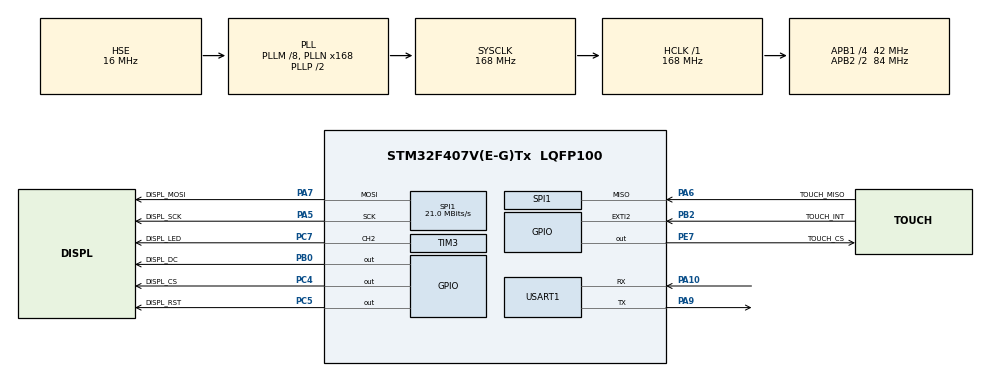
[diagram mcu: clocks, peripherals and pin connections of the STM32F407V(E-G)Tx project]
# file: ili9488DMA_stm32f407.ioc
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Dma.Request0=SPI1_TX
Dma.SPI1_TX.0.Direction=DMA_MEMORY_TO_PERIPH
Dma.SPI1_TX.0.FIFOMode=DMA_FIFOMODE_DISABLE
Dma.SPI1_TX.0.Instance=DMA2_Stream3
Dma.SPI1_TX.0.MemDataAlignment=DMA_MDATAALIGN_BYTE
Dma.SPI1_TX.0.MemInc=DMA_MINC_ENABLE
Dma.SPI1_TX.0.Mode=DMA_NORMAL
Dma.SPI1_TX.0.PeriphDataAlignment=DMA_PDATAALIGN_BYTE
Dma.SPI1_TX.0.PeriphInc=DMA_PINC_DISABLE
Dma.SPI1_TX.0.Priority=DMA_PRIORITY_LOW
Mcu.Family=STM32F4
Mcu.Name=STM32F407V(E-G)Tx
Mcu.Package=LQFP100
NVIC.DMA2_Stream3_IRQn=true\:0\:0\:false\:false\:true\:false\:true\:true
NVIC.EXTI2_IRQn=true\:2\:0\:true\:false\:true\:true\:true\:true
NVIC.PriorityGroup=NVIC_PRIORITYGROUP_4
NVIC.SPI1_IRQn=true\:1\:0\:true\:false\:true\:true\:true\:true
PA10.Mode=Asynchronous
PA10.Signal=USART1_RX
PA13.Mode=Serial_Wire
PA13.Signal=SYS_JTMS-SWDIO
PA14.Mode=Serial_Wire
PA14.Signal=SYS_JTCK-SWCLK
PA5.GPIO_Label=DISPL_SCK
PA5.Mode=Full_Duplex_Master
PA5.Signal=SPI1_SCK
PA6.GPIO_Label=TOUCH_MISO
PA6.Mode=Full_Duplex_Master
PA6.Signal=SPI1_MISO
PA7.GPIO_Label=DISPL_MOSI
PA7.Mode=Full_Duplex_Master
PA7.Signal=SPI1_MOSI
PA9.Mode=Asynchronous
PA9.Signal=USART1_TX
PB0.GPIO_Label=DISPL_DC
PB0.Signal=GPIO_Output
PB2.GPIO_Label=TOUCH_INT
PB2.GPIO_ModeDefaultEXTI=GPIO_MODE_IT_RISING
PB2.GPIO_PuPd=GPIO_PULLDOWN
PB2.Signal=GPXTI2
PC4.GPIO_Label=DISPL_CS
PC4.Signal=GPIO_Output
PC5.GPIO_Label=DISPL_RST
PC5.Signal=GPIO_Output
PC7.GPIO_Label=DISPL_LED
PC7.Signal=S_TIM3_CH2
PE7.GPIO_Label=TOUCH_CS
PE7.GPIO_PuPd=GPIO_PULLUP
PE7.GPIO_Speed=GPIO_SPEED_FREQ_LOW
PE7.PinState=GPIO_PIN_SET
PE7.Signal=GPIO_Output
PH0-OSC_IN.Mode=HSE-External-Oscillator
PH0-OSC_IN.Signal=RCC_OSC_IN
PH1-OSC_OUT.Mode=HSE-External-Oscillator
PH1-OSC_OUT.Signal=RCC_OSC_OUT
ProjectManager.HeapSize=0x800
ProjectManager.StackSize=0x400
ProjectManager.TargetToolchain=EWARM V8.50
RCC.48MHZClocksFreq_Value=84000000
RCC.AHBFreq_Value=168000000
RCC.APB1CLKDivider=RCC_HCLK_DIV4
RCC.APB1Freq_Value=42000000
RCC.APB1TimFreq_Value=84000000
RCC.APB2CLKDivider=RCC_HCLK_DIV2
RCC.APB2Freq_Value=84000000
RCC.APB2TimFreq_Value=168000000
RCC.CortexFreq_Value=168000000
RCC.HCLKFreq_Value=168000000
RCC.HSE_VALUE=16000000
RCC.HSI_VALUE=16000000
RCC.LSE_VALUE=32768
RCC.PLLM=8
RCC.PLLN=168
RCC.PLLSourceVirtual=RCC_PLLSOURCE_HSE
RCC.SYSCLKFreq_VALUE=168000000
RCC.SYSCLKSource=RCC_SYSCLKSOURCE_PLLCLK
RCC.VCOOutputFreq_Value=336000000
SH.S_TIM3_CH2.0=TIM3_CH2,PWM Generation2 CH2
SPI1.BaudRatePrescaler=SPI_BAUDRATEPRESCALER_4
SPI1.CalculateBaudRate=21.0 MBits/s
SPI1.Direction=SPI_DIRECTION_2LINES
SPI1.Mode=SPI_MODE_MASTER
SPI1.VirtualType=VM_MASTER
TIM3.Channel-PWM\ Generation2\ CH2=TIM_CHANNEL_2
TIM3.Period=1000
TIM3.Prescaler=10000
USART1.VirtualMode=VM_ASYNC
board=custom

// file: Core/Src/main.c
/* USER CODE BEGIN Header */
/**
******************************************************************************
* @file           : main.c
* @brief          : Main program body
******************************************************************************
* @attention
*
* Copyright (c) 2025 STMicroelectronics.
* All rights reserved.
*
* This software is licensed under terms that can be found in the LICENSE file
* in the root directory of this software component.
* If no LICENSE file comes with this software, it is provided AS-IS.
*
******************************************************************************
*/
/* USER CODE END Header */
#include "main.h"

/* USER CODE BEGIN Includes */
#include "fonts.h"
#include "z_displ_ILI9XXX.h"
#include "z_touch_XPT2046.h"
#include "z_displ_ILI9XXX_test.h"
#include "z_touch_XPT2046_test.h"
#include "z_touch_XPT2046_menu.h"
#include "image.h"
/* USER CODE END Includes */

SPI_HandleTypeDef hspi1;
DMA_HandleTypeDef hdma_spi1_tx;

TIM_HandleTypeDef htim3;

UART_HandleTypeDef huart1;

/* USER CODE BEGIN PV */
int TouchCount;
/* USER CODE END PV */

void SystemClock_Config(void);
static void MX_GPIO_Init(void);
static void MX_DMA_Init(void);
static void MX_SPI1_Init(void);
static void MX_TIM3_Init(void);
static void MX_USART1_UART_Init(void);

/* USER CODE BEGIN 0 */
void show_uart( char *ss)
{
  char test[100];
  int len;
  strcpy(test, ss);
  strcat(test, "\r\n");
  len = strlen (test);
  HAL_UART_Transmit(&huart1, (uint8_t *) test, len, HAL_MAX_DELAY);
}

/* USER CODE END 0 */

int main(void)
{

  /* MCU Configuration--------------------------------------------------------*/

  /* Reset of all peripherals, Initializes the Flash interface and the Systick. */
  HAL_Init();

  /* Configure the system clock */
  SystemClock_Config();

  /* Initialize all configured peripherals */
  MX_GPIO_Init();
  MX_DMA_Init();
  MX_SPI1_Init();
  MX_TIM3_Init();
  MX_USART1_UART_Init();
  /* USER CODE BEGIN 2 */

  show_uart("start");
  Displ_Init(Displ_Orientat_270);
  Displ_CLS(BLACK);
 /// Displ_DrawImage(0,0,80,80,logo);

   drawImage(0,0,480,320,logo);

  //ILI9488_DrawImage(0,0,80,80,logo,10);

  //Touch_TestDrawing();
  // Displ_PerfTest();//
 // Displ_TestAll ();
  /* USER CODE END 2 */

  /* Infinite loop */
  /* USER CODE BEGIN WHILE */
  while (1)
  {
    uint16_t x,y;
    uint8_t z;
    char ss[50];
    Touch_GetXYtouch(&x,&y,&z);

    HAL_Delay(100);
    sprintf(ss , "X:%dY:%d" , x ,y);
    show_uart(ss);
    /* USER CODE END WHILE */

  }
}

void SystemClock_Config(void)
{
  RCC_OscInitTypeDef RCC_OscInitStruct = {0};
  RCC_ClkInitTypeDef RCC_ClkInitStruct = {0};

  /** Configure the main internal regulator output voltage
  */
  __HAL_RCC_PWR_CLK_ENABLE();
  __HAL_PWR_VOLTAGESCALING_CONFIG(PWR_REGULATOR_VOLTAGE_SCALE1);

  /** Initializes the RCC Oscillators according to the specified parameters
  * in the RCC_OscInitTypeDef structure.
  */
  RCC_OscInitStruct.OscillatorType = RCC_OSCILLATORTYPE_HSE;
  RCC_OscInitStruct.HSEState = RCC_HSE_ON;
  RCC_OscInitStruct.PLL.PLLState = RCC_PLL_ON;
  RCC_OscInitStruct.PLL.PLLSource = RCC_PLLSOURCE_HSE;
  RCC_OscInitStruct.PLL.PLLM = 8;
  RCC_OscInitStruct.PLL.PLLN = 168;
  RCC_OscInitStruct.PLL.PLLP = RCC_PLLP_DIV2;
  RCC_OscInitStruct.PLL.PLLQ = 4;
  if (HAL_RCC_OscConfig(&RCC_OscInitStruct) != HAL_OK)
  {
    Error_Handler();
  }

  /** Initializes the CPU, AHB and APB buses clocks
  */
  RCC_ClkInitStruct.ClockType = RCC_CLOCKTYPE_HCLK|RCC_CLOCKTYPE_SYSCLK
                              |RCC_CLOCKTYPE_PCLK1|RCC_CLOCKTYPE_PCLK2;
  RCC_ClkInitStruct.SYSCLKSource = RCC_SYSCLKSOURCE_PLLCLK;
  RCC_ClkInitStruct.AHBCLKDivider = RCC_SYSCLK_DIV1;
  RCC_ClkInitStruct.APB1CLKDivider = RCC_HCLK_DIV4;
  RCC_ClkInitStruct.APB2CLKDivider = RCC_HCLK_DIV2;

  if (HAL_RCC_ClockConfig(&RCC_ClkInitStruct, FLASH_LATENCY_5) != HAL_OK)
  {
    Error_Handler();
  }
}

static void MX_SPI1_Init(void)
{

  /* SPI1 parameter configuration*/
  hspi1.Instance = SPI1;
  hspi1.Init.Mode = SPI_MODE_MASTER;
  hspi1.Init.Direction = SPI_DIRECTION_2LINES;
  hspi1.Init.DataSize = SPI_DATASIZE_8BIT;
  hspi1.Init.CLKPolarity = SPI_POLARITY_LOW;
  hspi1.Init.CLKPhase = SPI_PHASE_1EDGE;
  hspi1.Init.NSS = SPI_NSS_SOFT;
  hspi1.Init.BaudRatePrescaler = SPI_BAUDRATEPRESCALER_4;
  hspi1.Init.FirstBit = SPI_FIRSTBIT_MSB;
  hspi1.Init.TIMode = SPI_TIMODE_DISABLE;
  hspi1.Init.CRCCalculation = SPI_CRCCALCULATION_DISABLE;
  hspi1.Init.CRCPolynomial = 10;
  if (HAL_SPI_Init(&hspi1) != HAL_OK)
  {
    Error_Handler();
  }

}

static void MX_TIM3_Init(void)
{

  TIM_MasterConfigTypeDef sMasterConfig = {0};
  TIM_OC_InitTypeDef sConfigOC = {0};

  htim3.Instance = TIM3;
  htim3.Init.Prescaler = 10000;
  htim3.Init.CounterMode = TIM_COUNTERMODE_UP;
  htim3.Init.Period = 1000;
  htim3.Init.ClockDivision = TIM_CLOCKDIVISION_DIV1;
  htim3.Init.AutoReloadPreload = TIM_AUTORELOAD_PRELOAD_DISABLE;
  if (HAL_TIM_PWM_Init(&htim3) != HAL_OK)
  {
    Error_Handler();
  }
  sMasterConfig.MasterOutputTrigger = TIM_TRGO_RESET;
  sMasterConfig.MasterSlaveMode = TIM_MASTERSLAVEMODE_DISABLE;
  if (HAL_TIMEx_MasterConfigSynchronization(&htim3, &sMasterConfig) != HAL_OK)
  {
    Error_Handler();
  }
  sConfigOC.OCMode = TIM_OCMODE_PWM1;
  sConfigOC.Pulse = 0;
  sConfigOC.OCPolarity = TIM_OCPOLARITY_HIGH;
  sConfigOC.OCFastMode = TIM_OCFAST_DISABLE;
  if (HAL_TIM_PWM_ConfigChannel(&htim3, &sConfigOC, TIM_CHANNEL_2) != HAL_OK)
  {
    Error_Handler();
  }
  HAL_TIM_MspPostInit(&htim3);

}

static void MX_USART1_UART_Init(void)
{

  huart1.Instance = USART1;
  huart1.Init.BaudRate = 115200;
  huart1.Init.WordLength = UART_WORDLENGTH_8B;
  huart1.Init.StopBits = UART_STOPBITS_1;
  huart1.Init.Parity = UART_PARITY_NONE;
  huart1.Init.Mode = UART_MODE_TX_RX;
  huart1.Init.HwFlowCtl = UART_HWCONTROL_NONE;
  huart1.Init.OverSampling = UART_OVERSAMPLING_16;
  if (HAL_UART_Init(&huart1) != HAL_OK)
  {
    Error_Handler();
  }

}

static void MX_DMA_Init(void)
{

  /* DMA controller clock enable */
  __HAL_RCC_DMA2_CLK_ENABLE();

  /* DMA interrupt init */
  /* DMA2_Stream3_IRQn interrupt configuration */
  HAL_NVIC_SetPriority(DMA2_Stream3_IRQn, 0, 0);
  HAL_NVIC_EnableIRQ(DMA2_Stream3_IRQn);

}

static void MX_GPIO_Init(void)
{
  GPIO_InitTypeDef GPIO_InitStruct = {0};

  /* GPIO Ports Clock Enable */
  __HAL_RCC_GPIOH_CLK_ENABLE();
  __HAL_RCC_GPIOA_CLK_ENABLE();
  __HAL_RCC_GPIOC_CLK_ENABLE();
  __HAL_RCC_GPIOB_CLK_ENABLE();
  __HAL_RCC_GPIOE_CLK_ENABLE();

  /*Configure GPIO pin Output Level */
  HAL_GPIO_WritePin(GPIOC, DISPL_CS_Pin|DISPL_RST_Pin, GPIO_PIN_RESET);

  /*Configure GPIO pin Output Level */
  HAL_GPIO_WritePin(DISPL_DC_GPIO_Port, DISPL_DC_Pin, GPIO_PIN_RESET);

  /*Configure GPIO pin Output Level */
  HAL_GPIO_WritePin(TOUCH_CS_GPIO_Port, TOUCH_CS_Pin, GPIO_PIN_SET);

  /*Configure GPIO pins : DISPL_CS_Pin DISPL_RST_Pin */
  GPIO_InitStruct.Pin = DISPL_CS_Pin|DISPL_RST_Pin;
  GPIO_InitStruct.Mode = GPIO_MODE_OUTPUT_PP;
  GPIO_InitStruct.Pull = GPIO_NOPULL;
  GPIO_InitStruct.Speed = GPIO_SPEED_FREQ_LOW;
  HAL_GPIO_Init(GPIOC, &GPIO_InitStruct);

  /*Configure GPIO pin : DISPL_DC_Pin */
  GPIO_InitStruct.Pin = DISPL_DC_Pin;
  GPIO_InitStruct.Mode = GPIO_MODE_OUTPUT_PP;
  GPIO_InitStruct.Pull = GPIO_NOPULL;
  GPIO_InitStruct.Speed = GPIO_SPEED_FREQ_LOW;
  HAL_GPIO_Init(DISPL_DC_GPIO_Port, &GPIO_InitStruct);

  /*Configure GPIO pin : TOUCH_INT_Pin */
  GPIO_InitStruct.Pin = TOUCH_INT_Pin;
  GPIO_InitStruct.Mode = GPIO_MODE_IT_RISING;
  GPIO_InitStruct.Pull = GPIO_PULLDOWN;
  HAL_GPIO_Init(TOUCH_INT_GPIO_Port, &GPIO_InitStruct);

  /*Configure GPIO pin : TOUCH_CS_Pin */
  GPIO_InitStruct.Pin = TOUCH_CS_Pin;
  GPIO_InitStruct.Mode = GPIO_MODE_OUTPUT_PP;
  GPIO_InitStruct.Pull = GPIO_PULLUP;
  GPIO_InitStruct.Speed = GPIO_SPEED_FREQ_LOW;
  HAL_GPIO_Init(TOUCH_CS_GPIO_Port, &GPIO_InitStruct);

  /* EXTI interrupt init*/
  HAL_NVIC_SetPriority(EXTI2_IRQn, 2, 0);
  HAL_NVIC_EnableIRQ(EXTI2_IRQn);

}

void Error_Handler(void)
{
  __disable_irq();
  while (1)
  {
  }
}
